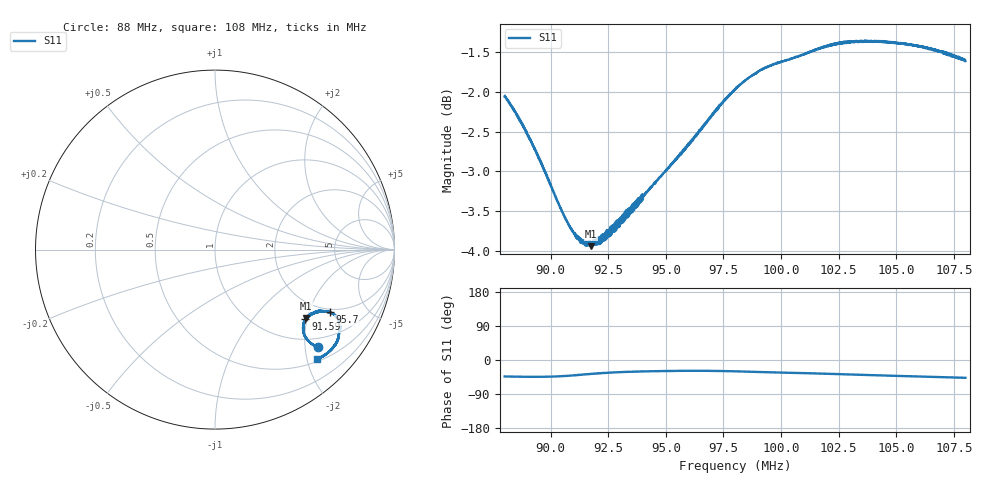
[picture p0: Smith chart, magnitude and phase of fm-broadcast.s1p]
! Calibrated averaged scanner-service zoom
# Hz S RI R 50
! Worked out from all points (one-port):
!   2001 points, 88 MHz to 108 MHz, reference 50 ohm
!   lowest |S11| = -3.9 dB at 91.73 MHz (marker M1), VSWR 4.49, Z = 77.2 - j98.6 ohm
!   |S11| at or under -10 dB: nowhere
!   S11 on the Smith chart (normalised r, x): 88 MHz: 0.79, -2.28; 91.59 MHz: 1.50, -1.95; 95.7 MHz: 1.86, -2.76; 108 MHz: 0.56, -2.18
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8.8e7  0.5733 -0.542
8.863e7  0.5495 -0.5321
8.931e7  0.5227 -0.5124
9.001e7  0.5 -0.4813
9.05e7  0.4928 -0.451
9.104e7  0.4922 -0.4192
9.159e7  0.5034 -0.3886
9.173e7  0.5088 -0.3808
9.231e7  0.5292 -0.361
9.3e7  0.559 -0.3505
9.352e7  0.5728 -0.3419
9.409e7  0.5933 -0.343
9.55e7  0.6335 -0.3466
9.57e7  0.6381 -0.3493
9.624e7  0.653 -0.3551
9.681e7  0.6686 -0.3651
9.741e7  0.6825 -0.3803
9.8e7  0.6906 -0.3969
9.849e7  0.6957 -0.4122
9.904e7  0.6973 -0.4294
9.971e7  0.6954 -0.4481
1.005e8  0.6912 -0.4662
1.0183e8  0.6858 -0.4987
1.03e8  0.6711 -0.5283
1.043e8  0.6484 -0.5568
1.055e8  0.6237 -0.5782
1.0693e8  0.5917 -0.5995
1.08e8  0.5662 -0.6074
